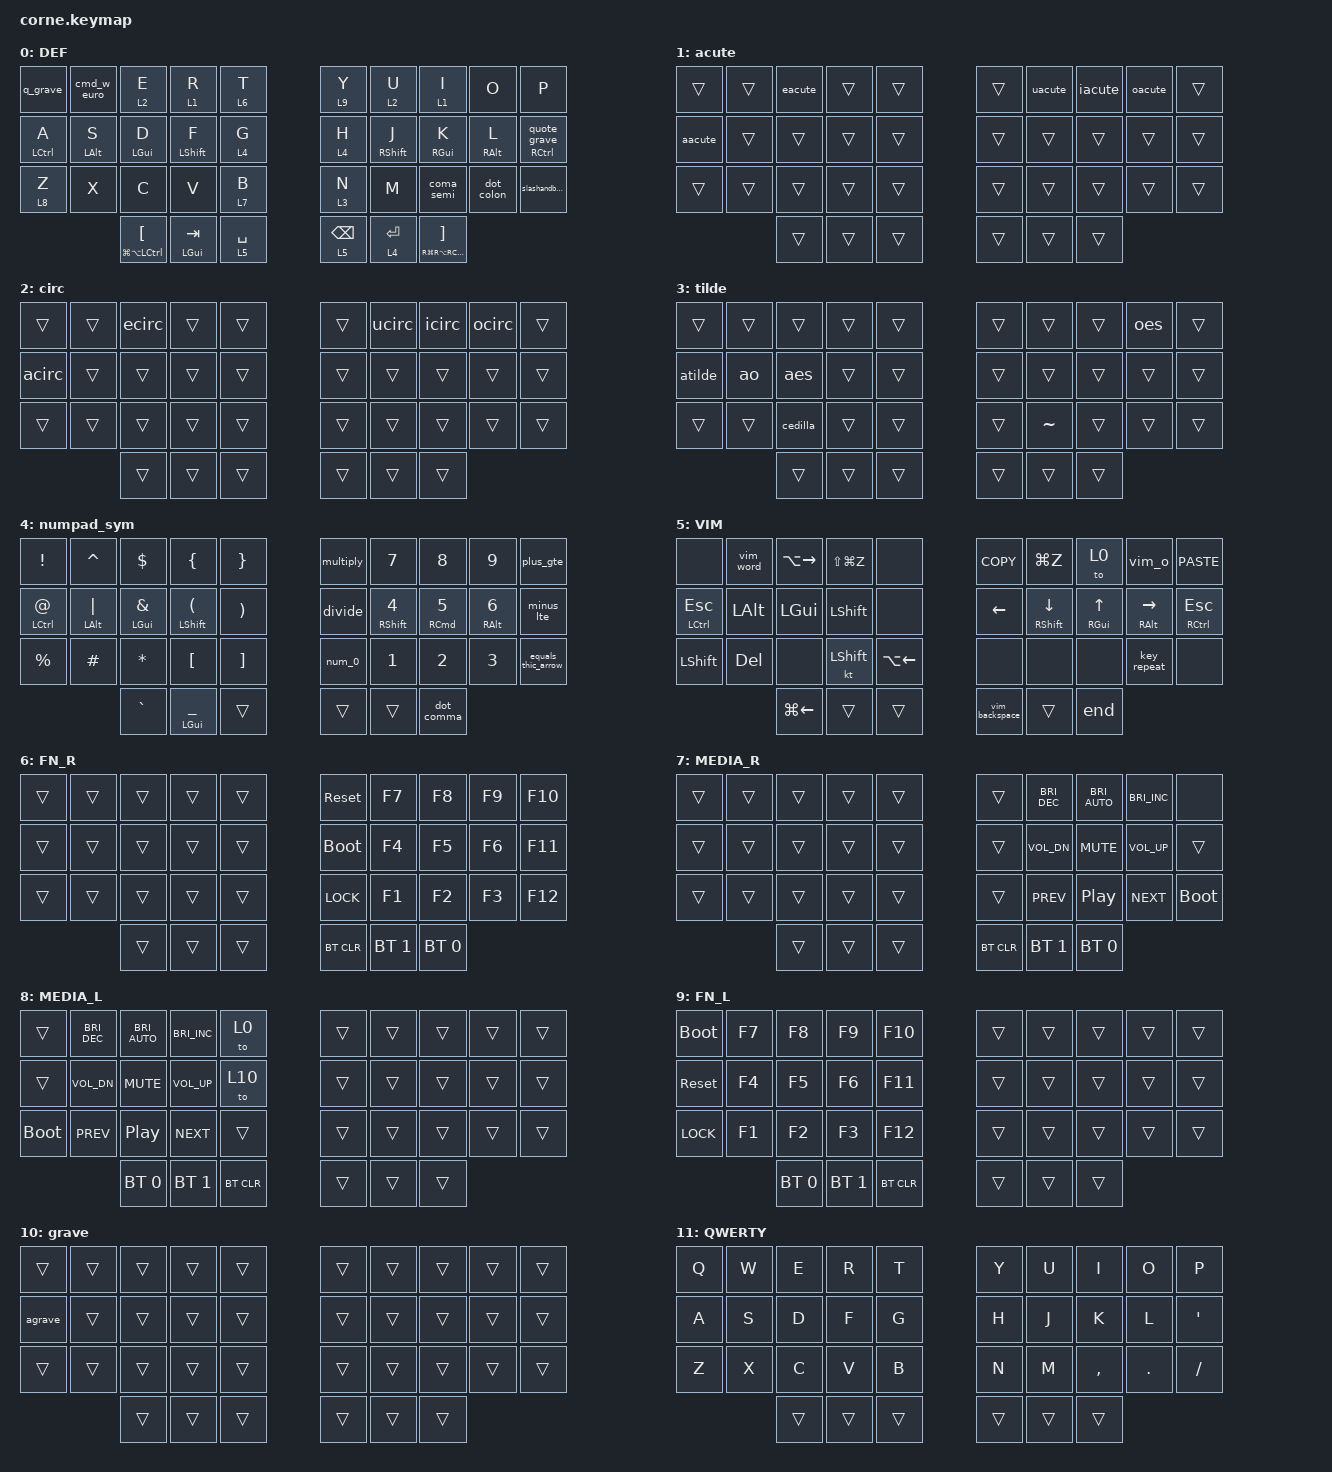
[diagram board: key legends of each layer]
/*
 * Copyright (c) 2020 The ZMK Contributors
 *
 * SPDX-License-Identifier: MIT
 */

#include <behaviors.dtsi>
#include <dt-bindings/zmk/bt.h>
#include <dt-bindings/zmk/keys.h>

#define DEFAULT_L 0

&lt {
    quick-tap-ms = <200>;
    tapping-term-ms = <200>;
};

/ {
    chosen { zmk,matrix_transform = &five_column_transform; };

    behaviors {
        hm: homerow_mods {
            compatible = "zmk,behavior-hold-tap";
            label = "HOMEROW_MODS";
            #binding-cells = <2>;
            tapping-term-ms = <150>;
            flavor = "tap-preferred";
            bindings = <&kp>, <&kp>;

            quick-tap-ms = <200>;
        };

        vim_i: vim_i {
            compatible = "zmk,behavior-mod-morph";
            label = "VIM_I";
            bindings = <&to 0>, <&vim_I>;

            #binding-cells = <0>;
            mods = <(MOD_LSFT|MOD_RSFT)>;
        };

        vim_o: vim_o {
            compatible = "zmk,behavior-mod-morph";
            label = "VIM_O";
            bindings = <&next_line_enter>, <&previous_line_enter>;

            #binding-cells = <0>;
            mods = <(MOD_LSFT|MOD_RSFT)>;
        };

        vim_c_r: vim_c_r {
            compatible = "zmk,behavior-mod-morph";
            label = "VIM_C_R";
            #binding-cells = <0>;
            bindings = <&none>, <&kp LG(LS(Z))>;

            mods = <(MOD_LCTL|MOD_RCTL)>;
        };

        vim_backspace: vim_backspace {
            compatible = "zmk,behavior-mod-morph";
            label = "VIM_BACKSPACE";
            bindings = <&kp LA(BACKSPACE)>, <&kp LA(DELETE)>;

            #binding-cells = <0>;
            mods = <(MOD_LALT|MOD_RALT)>;
        };

        slashandbackslash: slashandbackslash {
            compatible = "zmk,behavior-mod-morph";
            label = "SLASHANDBACKSLASH";
            bindings = <&kp SLASH>, <&kp BACKSLASH>;

            #binding-cells = <0>;
            mods = <(MOD_LALT|MOD_RALT)>;
        };

        quote: quote {
            compatible = "zmk,behavior-mod-morph";
            label = "QUOTE";
            bindings = <&kp SINGLE_QUOTE>, <&kp GRAVE>;

            #binding-cells = <0>;
            mods = <(MOD_LALT|MOD_RALT)>;
        };

        coma_semi: coma_semi {
            compatible = "zmk,behavior-mod-morph";
            label = "COMA_SEMI";
            bindings = <&kp COMMA>, <&kp SEMI>;

            #binding-cells = <0>;
            mods = <(MOD_LALT|MOD_RALT)>;
            keep-mods = <(MOD_LSFT|MOD_RSFT)>;
        };

        dot_colon: dot_colon {
            compatible = "zmk,behavior-mod-morph";
            label = "DOT_COLON";
            bindings = <&kp PERIOD>, <&kp COLON>, <&kp LA(COLON)>;

            #binding-cells = <0>;
            mods = <(MOD_LALT|MOD_RALT)>;
            keep-mods = <(MOD_LSFT|MOD_RSFT)>;
        };

        q_grave: q_grave {
            compatible = "zmk,behavior-mod-morph";
            label = "Q_GRAVE";
            bindings = <&kp Q>, <&kp GRAVE>;

            #binding-cells = <0>;
            mods = <(MOD_LALT|MOD_RALT)>;
        };

        home: home {
            compatible = "zmk,behavior-mod-morph";
            label = "HOME";
            bindings = <&kp LG(LEFT)>, <&kp HOME>;

            #binding-cells = <0>;
            mods = <(MOD_LSFT|MOD_RSFT)>;
        };

        end: end {
            compatible = "zmk,behavior-mod-morph";
            label = "END";
            bindings = <&kp LG(RIGHT)>, <&kp END>;

            #binding-cells = <0>;
            mods = <(MOD_LSFT|MOD_RALT)>;
        };

        quote_grave: quote_grave {
            compatible = "zmk,behavior-mod-morph";
            label = "QUOTE_GRAVE";
            bindings = <&kp SINGLE_QUOTE>, <&kp GRAVE>;

            #binding-cells = <0>;
            mods = <(MOD_LALT|MOD_RALT)>;
        };

        hm_quotes: hm_quotes {
            compatible = "zmk,behavior-hold-tap";
            label = "HM_QUOTES";
            bindings = <&kp>, <&quote_grave>;

            #binding-cells = <2>;
            tapping-term-ms = <200>;
            quick-tap-ms = <200>;
            flavor = "tap-preferred";
        };

        dot_comma: dot_comma {
            compatible = "zmk,behavior-mod-morph";
            label = "DOT_COMMA";
            bindings = <&kp DOT>, <&kp COMMA>;

            #binding-cells = <0>;
            mods = <(MOD_LSFT|MOD_RSFT)>;
        };

        multiply: multiply {
            compatible = "zmk,behavior-mod-morph";
            label = "MULTIPLY";
            bindings = <&kp ASTERISK>, <&kp LEFT_BRACE>;

            #binding-cells = <0>;
            mods = <(MOD_LSFT|MOD_RSFT)>;
        };

        divide: divide {
            compatible = "zmk,behavior-mod-morph";
            label = "divide";
            bindings = <&kp SLASH>, <&kp LEFT_PARENTHESIS>;

            #binding-cells = <0>;
            mods = <(MOD_LSFT|MOD_RSFT)>;
        };

        num_7: num_7 {
            compatible = "zmk,behavior-mod-morph";
            label = "num_7";
            bindings = <&kp N7>, <&kp RIGHT_BRACE>;

            #binding-cells = <0>;
            mods = <(MOD_LSFT|MOD_RSFT)>;
        };

        equals_thic_arrow: equals_thic_arrow {
            compatible = "zmk,behavior-mod-morph";
            label = "EQUALS_THIC_ARROW";
            bindings = <&kp EQUAL>, <&thic_arrow>;

            #binding-cells = <0>;
            mods = <(MOD_LSFT|MOD_RSFT)>;
        };

        num_0: num_0 {
            compatible = "zmk,behavior-mod-morph";
            label = "NUM_0";
            #binding-cells = <0>;
            mods = <(MOD_LSFT|MOD_RSFT)>;
            bindings = <&kp N0>, <&kp LEFT_BRACKET>;
        };

        num_1: num_1 {
            compatible = "zmk,behavior-mod-morph";
            label = "NUM_1";
            #binding-cells = <0>;
            mods = <(MOD_LSFT|MOD_RSFT)>;
            bindings = <&kp N1>, <&kp RIGHT_BRACKET>;
        };

        num_2: num_2 {
            compatible = "zmk,behavior-mod-morph";
            label = "NUM_2";
            #binding-cells = <0>;
            mods = <(MOD_LSFT|MOD_RSFT)>;
            bindings = <&kp N2>, <&kp COMMA>;
        };

        num_3: num_3 {
            compatible = "zmk,behavior-mod-morph";
            label = "NUM_3";
            #binding-cells = <0>;
            mods = <(MOD_LSFT|MOD_RSFT)>;
            bindings = <&kp N3>, <&kp DOT>;
        };

        num_5: num_5 {
            compatible = "zmk,behavior-mod-morph";
            label = "NUM_5";
            #binding-cells = <0>;
            mods = <(MOD_LSFT)>;
            bindings = <&hm RIGHT_GUI N5>, <&kp LT>;
        };

        num_6: num_6 {
            compatible = "zmk,behavior-mod-morph";
            label = "NUM_6";
            #binding-cells = <0>;
            mods = <(MOD_LSFT)>;
            bindings = <&hm RIGHT_ALT NUMBER_6>, <&kp GT>;
        };

        hm_quote_minus: hm_quote_minus {
            compatible = "zmk,behavior-mod-morph";
            label = "HM_QUOTE_MINUS";
            #binding-cells = <0>;
            mods = <(MOD_LSFT)>;
            bindings = <&hm RCTRL MINUS>, <&kp DOUBLE_QUOTES>;
        };

        num_4: num_4 {
            compatible = "zmk,behavior-mod-morph";
            label = "NUM_4";
            bindings = <&hm RIGHT_SHIFT N4>, <&kp RIGHT_PARENTHESIS>;

            #binding-cells = <0>;
            mods = <(MOD_LSFT)>;
        };

        always_tilde: always_tilde {
            compatible = "zmk,behavior-macro";
            label = "ALWAYS_TILDE";
            #binding-cells = <0>;
            wait-ms = <30>;
            tap-ms = <30>;
            bindings = <&macro_press &kp LALT>,
                       <&macro_tap &kp N>,
                       <&macro_release &kp LALT>;
        };

        num_8: num_8 {
            compatible = "zmk,behavior-mod-morph";
            label = "NUM_8";
            bindings = <&kp N8>, <&kp LA(LS(NUMBER_2))>;

            #binding-cells = <0>;
            mods = <(MOD_LSFT|MOD_RSFT)>;
        };

        w_euro: w_euro {
            compatible = "zmk,behavior-mod-morph";
            label = "W_EURO";
            bindings = <&kp W>, <&kp LS(LA(NUMBER_2))>;

            #binding-cells = <0>;
            mods = <(MOD_LALT|MOD_RALT)>;
        };

        a_grave_ctrl: a_grave_ctrl {
            compatible = "zmk,behavior-mod-morph";
            label = "A_GRAVE_CTRL";
            bindings = <&hm LCTRL A>, <&kp A>;

            #binding-cells = <0>;
            mods = <(MOD_LALT|MOD_RALT)>;
        };

        always_grave: always_grave {
            compatible = "zmk,behavior-mod-morph";
            label = "ALWAYS_GRAVE";
            bindings = <&kp GRAVE>, <&kp GRAVE>;

            #binding-cells = <0>;
            mods = <(MOD_LSFT|MOD_RSFT)>;
        };

        always_acute: always_acute {
            compatible = "zmk,behavior-mod-morph";
            label = "ALWAYS_ACUTE";
            bindings = <&kp LA(E)>, <&kp LA(E)>;

            #binding-cells = <0>;
            mods = <(MOD_LALT|MOD_LSFT|MOD_RSFT)>;
        };

        always_circ: always_circ {
            compatible = "zmk,behavior-mod-morph";
            label = "ALWAYS_CIRC";
            bindings = <&kp LA(I)>, <&kp LA(I)>;

            #binding-cells = <0>;
            mods = <(MOD_LSFT|MOD_RSFT)>;
        };

        cmd_num_4: cmd_num_4 {
            compatible = "zmk,behavior-mod-morph";
            label = "CMD_NUM_4";
            bindings = <&num_4>, <&kp NUMBER_4>;

            #binding-cells = <0>;
            mods = <(MOD_LGUI|MOD_RGUI)>;
            keep-mods = <(MOD_RGUI|MOD_LGUI)>;
        };

        cmd_num_5: cmd_num_5 {
            compatible = "zmk,behavior-mod-morph";
            label = "CMD_NUM_5";
            bindings = <&num_5>, <&kp N5>;

            #binding-cells = <0>;
            mods = <(MOD_LGUI|MOD_RGUI)>;
            keep-mods = <(MOD_RGUI|MOD_LGUI)>;
        };

        cmd_num_1: cmd_num_1 {
            compatible = "zmk,behavior-mod-morph";
            label = "CMD_NUM_1";
            bindings = <&num_1>, <&kp NUMBER_1>;

            #binding-cells = <0>;
            mods = <(MOD_LGUI|MOD_RGUI)>;
            keep-mods = <(MOD_RGUI|MOD_LGUI)>;
        };

        cmd_num_3: cmd_num_3 {
            compatible = "zmk,behavior-mod-morph";
            label = "CMD_NUM_3";
            bindings = <&num_3>, <&kp NUMBER_3>;

            #binding-cells = <0>;
            mods = <(MOD_LGUI|MOD_RGUI)>;
            keep-mods = <(MOD_RGUI|MOD_LGUI)>;
        };

        cmd_num_2: cmd_num_2 {
            compatible = "zmk,behavior-mod-morph";
            label = "CMD_NUM_2";
            bindings = <&num_2>, <&kp NUMBER_2>;

            #binding-cells = <0>;
            mods = <(MOD_LGUI|MOD_RGUI)>;
            keep-mods = <(MOD_RGUI|MOD_LGUI)>;
        };

        cmd_num_6: cmd_num_6 {
            compatible = "zmk,behavior-mod-morph";
            label = "CMD_NUM_6";
            bindings = <&num_6>, <&kp NUMBER_6>;

            #binding-cells = <0>;
            mods = <(MOD_LGUI|MOD_RGUI)>;
            keep-mods = <(MOD_RGUI|MOD_LGUI)>;
        };

        cmd_num_7: cmd_num_7 {
            compatible = "zmk,behavior-mod-morph";
            label = "CMD_NUM_7";
            bindings = <&num_7>, <&kp N7>;

            #binding-cells = <0>;
            mods = <(MOD_LGUI|MOD_RGUI)>;
            keep-mods = <(MOD_RGUI|MOD_LGUI)>;
        };

        cmd_num_8: cmd_num_8 {
            compatible = "zmk,behavior-mod-morph";
            label = "CMD_NUM_8";
            bindings = <&num_8>, <&kp N8>;

            #binding-cells = <0>;
            mods = <(MOD_LGUI|MOD_RGUI)>;
            keep-mods = <(MOD_RGUI|MOD_LGUI)>;
        };

        cmd_w_euro: cmd_w_euro {
            compatible = "zmk,behavior-mod-morph";
            label = "CMD_W_EURO";
            bindings = <&w_euro>, <&kp W>;

            #binding-cells = <0>;
            mods = <(MOD_LGUI|MOD_RGUI|MOD_LCTL|MOD_LSFT|MOD_RCTL|MOD_RSFT)>;
            keep-mods = <(MOD_LCTL|MOD_LSFT|MOD_LALT|MOD_LGUI|MOD_RALT|MOD_RGUI|MOD_RSFT|MOD_RCTL)>;
        };

        shift_tap: shift_tap {
            compatible = "zmk,behavior-hold-tap";
            label = "SHIFT_TAP";
            bindings = <&kp>, <&kp>;

            #binding-cells = <2>;
            tapping-term-ms = <150>;
            flavor = "tap-preferred";
            quick-tap-ms = <200>;
        };

        plus_gte: plus_gte {
            compatible = "zmk,behavior-mod-morph";
            label = "PLUS_GTE";
            bindings = <&kp PLUS>, <&gte>;

            #binding-cells = <0>;
            mods = <(MOD_LSFT|MOD_RSFT)>;
        };

        minus_lte: minus_lte {
            compatible = "zmk,behavior-mod-morph";
            label = "MINUS_LTE";
            bindings = <&kp MINUS>, <&lte>;

            #binding-cells = <0>;
            mods = <(MOD_LSFT|MOD_RSFT)>;
        };

        p_question: p_question {
            compatible = "zmk,behavior-mod-morph";
            label = "P_QUESTION";
            bindings = <&kp P>, <&kp QUESTION>;

            #binding-cells = <0>;
            mods = <(MOD_LALT|MOD_RALT)>;
        };
    };

    macros {
        aacute: aacute {
            compatible = "zmk,behavior-macro";
            label = "AACUTE";
            #binding-cells = <0>;
            bindings = <&always_acute &kp A>;
        };

        eacute: eacute {
            compatible = "zmk,behavior-macro";
            label = "EACUTE";
            #binding-cells = <0>;
            bindings = <&always_acute &kp E>;
        };

        iacute: iacute {
            compatible = "zmk,behavior-macro";
            label = "IACUTE";
            #binding-cells = <0>;
            bindings = <&always_acute &kp I>;
        };

        oacute: oacute {
            compatible = "zmk,behavior-macro";
            label = "OACUTE";
            #binding-cells = <0>;
            bindings = <&always_acute &kp O>;
        };

        uacute: uacute {
            compatible = "zmk,behavior-macro";
            label = "UACUTE";
            #binding-cells = <0>;
            bindings = <&always_acute &kp U>;
        };

        acirc: acirc {
            compatible = "zmk,behavior-macro";
            label = "ACIRC";
            #binding-cells = <0>;
            bindings = <&always_circ &kp A>;
        };

        ecirc: ecirc {
            compatible = "zmk,behavior-macro";
            label = "ECIRC";
            #binding-cells = <0>;
            bindings = <&always_circ &kp E>;
        };

        icirc: icirc {
            compatible = "zmk,behavior-macro";
            label = "ICIRC";
            #binding-cells = <0>;
            bindings = <&always_circ &kp I>;
        };

        ocirc: ocirc {
            compatible = "zmk,behavior-macro";
            label = "OCIRC";
            #binding-cells = <0>;
            bindings = <&always_circ &kp O>;
        };

        ucirc: ucirc {
            compatible = "zmk,behavior-macro";
            label = "UCIRC";
            #binding-cells = <0>;
            bindings = <&always_circ &kp U>;
        };

        atilde: atilde {
            compatible = "zmk,behavior-macro";
            label = "ATILDE";
            #binding-cells = <0>;
            bindings = <&always_tilde &kp A>;
        };

        otilde: otilde {
            compatible = "zmk,behavior-macro";
            label = "OTILDE";
            #binding-cells = <0>;
            bindings = <&always_tilde &kp O>;
        };

        cedilla: cedilla {
            compatible = "zmk,behavior-macro";
            label = "CEDILLA";
            #binding-cells = <0>;
            wait-ms = <30>;
            tap-ms = <30>;
            bindings = <&macro_press &kp LALT>,
                       <&macro_tap &kp C>,
                       <&macro_release &kp LALT>;
        };

        ao: ao {
            compatible = "zmk,behavior-macro";
            label = "AO";
            #binding-cells = <0>;
            bindings = <&always_tilde &kp A &kp O>;
        };

        oes: oes {
            compatible = "zmk,behavior-macro";
            label = "OES";
            #binding-cells = <0>;
            bindings = <&always_tilde &kp O &kp E &kp S>;
        };

        vim_word: vim_word {
            compatible = "zmk,behavior-macro";
            label = "VIM_WORD";
            #binding-cells = <0>;
            bindings = <&kp LA(RIGHT) &kp LA(RIGHT) &kp LA(LEFT)>;
        };

        previous_line_enter: previous_line_enter {
            compatible = "zmk,behavior-macro";
            label = "PREVIOUS_LINE_ENTER";
            #binding-cells = <0>;
            bindings = <&kp LG(LEFT) &kp LS(ENTER) &kp LEFT>;
        };

        vim_I: vim_I {
            compatible = "zmk,behavior-macro";
            label = "VIM_I";
            #binding-cells = <0>;
            bindings = <&kp LG(LEFT_ARROW) &to 0>;
        };

        aes: aes {
            compatible = "zmk,behavior-macro";
            label = "AES";
            #binding-cells = <0>;
            bindings = <&always_tilde &kp A &kp E &kp S>;
        };

        esc_0: esc_0 {
            compatible = "zmk,behavior-macro";
            label = "ESC_0";
            #binding-cells = <0>;
            bindings = <&to 0 &kp ESCAPE>;
        };

        next_line_enter: next_line_enter {
            compatible = "zmk,behavior-macro";
            label = "NEXT_LINE_ENTER";
            #binding-cells = <0>;
            bindings = <&kp LG(RIGHT) &kp ENTER>;
        };

        thic_arrow: thic_arrow {
            compatible = "zmk,behavior-macro";
            #binding-cells = <0>;
            bindings = <&kp EQUAL &kp GT>;
            label = "THIC_ARROW";
        };

        thin_arrow: thin_arrow {
            compatible = "zmk,behavior-macro";
            #binding-cells = <0>;
            bindings = <&kp MINUS &kp GT>;
            label = "THIN_ARROW";
        };

        agrave: agrave {
            compatible = "zmk,behavior-macro";
            #binding-cells = <0>;
            bindings = <&always_grave &kp A>;
            label = "AGRAVE";
        };

        gte: gte {
            compatible = "zmk,behavior-macro";
            #binding-cells = <0>;
            bindings = <&kp GT &kp EQUAL>;
            label = "GTE";
        };

        lte: lte {
            compatible = "zmk,behavior-macro";
            #binding-cells = <0>;
            bindings = <&kp LT &kp EQUAL>;
            label = "LTE";
        };
    };

    combos {
        compatible = "zmk,combos";

        RESET {
            bindings = <&esc_0>;
            key-positions = <12 17>;
        };

        toggle_shift {
            bindings = <&caps_word>;
            key-positions = <16 13>;
        };

        RESET_w {
            bindings = <&esc_0>;
            key-positions = <14 15>;
        };

        QWesc {
            bindings = <&kp ESCAPE>;
            key-positions = <0 1>;
        };
    };

    keymap {
        compatible = "zmk,keymap";

        default_layer {
            label = "DEF";
            bindings = <
  &q_grave     &cmd_w_euro     &lt 2 E                         &lt 1 R                  &lt 6 T        &lt 9 Y          &lt 2 U                   &lt 1 I                          &kp O            &kp P
  &hm LCTRL A  &hm LEFT_ALT S  &hm LEFT_GUI D                  &shift_tap LEFT_SHIFT F  &lt 4 G        &lt 4 H          &shift_tap RIGHT_SHIFT J  &hm RIGHT_GUI K                  &hm RIGHT_ALT L  &hm_quotes RCTRL 0
  &lt 8 Z      &kp X           &kp C                           &kp V                    &lt 7 B        &lt 3 N          &kp M                     &coma_semi                       &dot_colon       &slashandbackslash
                               &mt LG(LA(LCTRL)) LEFT_BRACKET  &hm LEFT_GUI TAB         &lt 5 SPACE    &lt 5 BACKSPACE  &lt 4 ENTER               &mt RG(RA(RCTRL)) RIGHT_BRACKET
            >;
        };

        acute {
            bindings = <
  &trans   &trans  &eacute  &trans  &trans    &trans  &uacute  &iacute  &oacute  &trans
  &aacute  &trans  &trans   &trans  &trans    &trans  &trans   &trans   &trans   &trans
  &trans   &trans  &trans   &trans  &trans    &trans  &trans   &trans   &trans   &trans
                   &trans   &trans  &trans    &trans  &trans   &trans
            >;

            label = "acute";
        };

        circ {
            bindings = <
  &trans  &trans  &ecirc  &trans  &trans    &trans  &ucirc  &icirc  &ocirc  &trans
  &acirc  &trans  &trans  &trans  &trans    &trans  &trans  &trans  &trans  &trans
  &trans  &trans  &trans  &trans  &trans    &trans  &trans  &trans  &trans  &trans
                  &trans  &trans  &trans    &trans  &trans  &trans
            >;

            label = "circ";
        };

        tilde {
            bindings = <
  &trans   &trans  &trans     &trans  &trans    &trans  &trans     &trans  &oes    &trans
  &atilde  &ao     &aes       &trans  &trans    &trans  &trans     &trans  &trans  &trans
  &trans   &trans  &cedilla   &trans  &trans    &trans  &kp TILDE  &trans  &trans  &trans
                   &trans     &trans  &trans    &trans  &trans     &trans
            >;
        };

        numpad_sym {
            bindings = <
  &kp EXCLAMATION  &kp CARET      &kp DOLLAR          &kp LEFT_BRACE              &kp RIGHT_BRACE          &multiply  &kp N7                    &kp N8                &kp NUMBER_9      &plus_gte
  &hm LCTRL AT     &hm LALT PIPE  &hm LGUI AMPERSAND  &hm LSHFT LEFT_PARENTHESIS  &kp RIGHT_PARENTHESIS    &divide    &hm RIGHT_SHIFT NUMBER_4  &hm RIGHT_COMMAND N5  &hm RIGHT_ALT N6  &minus_lte
  &kp PERCENT      &kp HASH       &kp ASTERISK        &kp LEFT_BRACKET            &kp RBKT                 &num_0     &kp N1                    &kp N2                &kp N3            &equals_thic_arrow
                                  &kp GRAVE           &mt LEFT_GUI UNDERSCORE     &trans                   &trans     &trans                    &dot_comma
            >;
        };

        VIM {
            bindings = <
  &none                    &vim_word   &kp LA(RIGHT)  &kp LS(LG(Z))   &none           &kp K_COPY      &kp LG(Z)             &to 0                   &vim_o               &kp K_PASTE
  &hm LEFT_CONTROL ESCAPE  &kp LALT    &kp LEFT_GUI   &kp LEFT_SHIFT  &none           &kp LEFT        &hm RIGHT_SHIFT DOWN  &hm RIGHT_GUI UP_ARROW  &hm RIGHT_ALT RIGHT  &hm RCTRL ESCAPE
  &kp LEFT_SHIFT           &kp DELETE  &none          &kt LEFT_SHIFT  &kp LA(LEFT)    &none           &none                 &none                   &key_repeat          &none
                                       &kp LG(LEFT)   &trans          &trans          &vim_backspace  &trans                &end
            >;
        };

        FN_R {
            bindings = <
  &trans  &trans  &trans  &trans  &trans    &sys_reset   &kp F7        &kp F8        &kp F9  &kp F10
  &trans  &trans  &trans  &trans  &trans    &bootloader  &kp F4        &kp F5        &kp F6  &kp F11
  &trans  &trans  &trans  &trans  &trans    &kp K_LOCK   &kp F1        &kp F2        &kp F3  &kp F12
                  &trans  &trans  &trans    &bt BT_CLR   &bt BT_SEL 1  &bt BT_SEL 0
            >;
        };

        MEDIA_R {
            bindings = <
  &trans  &trans  &trans  &trans  &trans    &trans      &kp C_BRIGHTNESS_DEC  &kp C_BRIGHTNESS_AUTO  &kp C_BRIGHTNESS_INC  &none
  &trans  &trans  &trans  &trans  &trans    &trans      &kp C_VOL_DN          &kp C_MUTE             &kp C_VOL_UP          &trans
  &trans  &trans  &trans  &trans  &trans    &trans      &kp C_PREV            &kp C_PLAY_PAUSE       &kp C_NEXT            &bootloader
                  &trans  &trans  &trans    &bt BT_CLR  &bt BT_SEL 1          &bt BT_SEL 0
            >;
        };

        MEDIA_L {
            bindings = <
  &trans       &kp C_BRIGHTNESS_DEC  &kp C_BRIGHTNESS_AUTO  &kp C_BRIGHTNESS_INC  &to 0         &trans  &trans  &trans  &trans  &trans
  &trans       &kp C_VOL_DN          &kp C_MUTE             &kp C_VOL_UP          &to 10        &trans  &trans  &trans  &trans  &trans
  &bootloader  &kp C_PREV            &kp C_PLAY_PAUSE       &kp C_NEXT            &trans        &trans  &trans  &trans  &trans  &trans
                                     &bt BT_SEL 0           &bt BT_SEL 1          &bt BT_CLR    &trans  &trans  &trans
            >;
        };

        FN_L {
            bindings = <
  &bootloader  &kp F7  &kp F8        &kp F9        &kp F10       &trans  &trans  &trans  &trans  &trans
  &sys_reset   &kp F4  &kp F5        &kp F6        &kp F11       &trans  &trans  &trans  &trans  &trans
  &kp K_LOCK   &kp F1  &kp F2        &kp F3        &kp F12       &trans  &trans  &trans  &trans  &trans
                       &bt BT_SEL 0  &bt BT_SEL 1  &bt BT_CLR    &trans  &trans  &trans
            >;
        };

        grave {
            bindings = <
  &trans   &trans  &trans  &trans  &trans    &trans  &trans  &trans  &trans  &trans
  &agrave  &trans  &trans  &trans  &trans    &trans  &trans  &trans  &trans  &trans
  &trans   &trans  &trans  &trans  &trans    &trans  &trans  &trans  &trans  &trans
                   &trans  &trans  &trans    &trans  &trans  &trans
            >;
        };

        plain_qwerty {
            label = "QWERTY";
            bindings = <
  &kp Q  &kp W  &kp E   &kp R   &kp T     &kp Y   &kp U   &kp I      &kp O       &kp P
  &kp A  &kp S  &kp D   &kp F   &kp G     &kp H   &kp J   &kp K      &kp L       &kp SQT
  &kp Z  &kp X  &kp C   &kp V   &kp B     &kp N   &kp M   &kp COMMA  &kp PERIOD  &kp SLASH
                &trans  &trans  &trans    &trans  &trans  &trans
            >;
        };
    };
};
